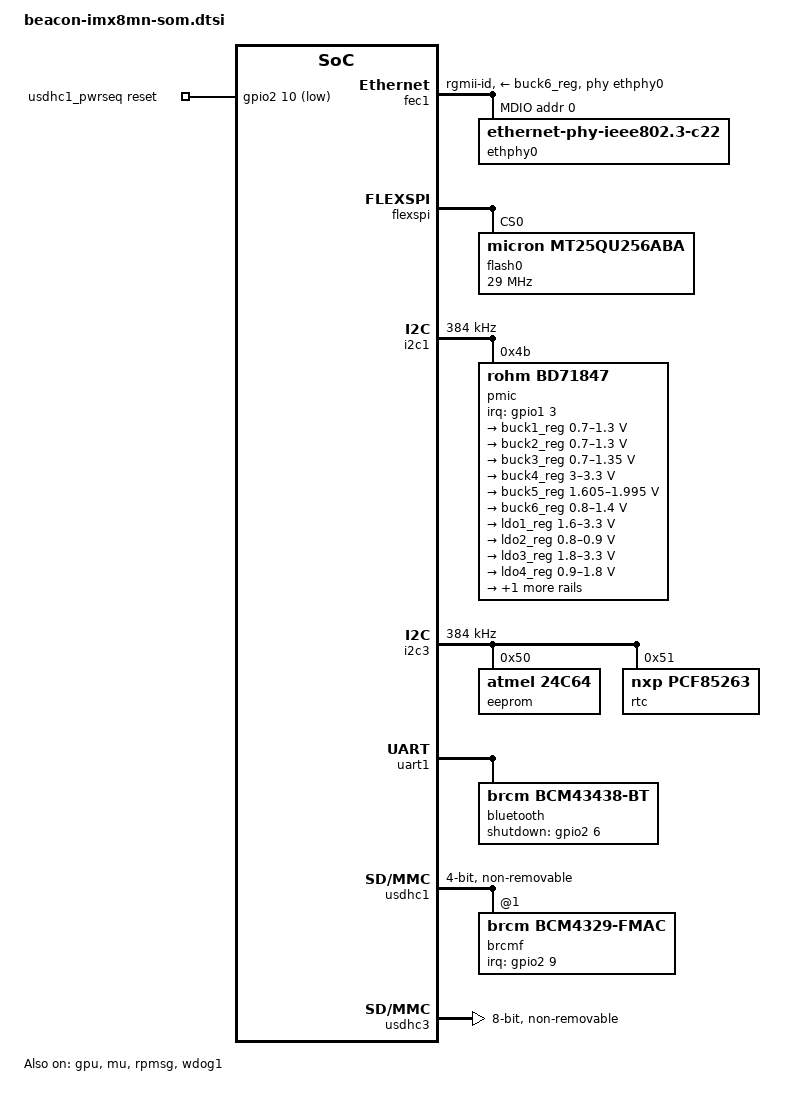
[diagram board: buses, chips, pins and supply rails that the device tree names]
// SPDX-License-Identifier: (GPL-2.0 OR MIT)
/*
 * Copyright 2020 Beacon EmbeddedWorks
 */
/ {
	usdhc1_pwrseq: usdhc1_pwrseq {
		compatible = "mmc-pwrseq-simple";
		pinctrl-names = "default";
		pinctrl-0 = <&pinctrl_usdhc1_gpio>;
		reset-gpios = <&gpio2 10 GPIO_ACTIVE_LOW>;
		clocks = <&osc_32k>;
		clock-names = "ext_clock";
		post-power-on-delay-ms = <80>;
	};
};

&A53_0 {
	arm-supply = <&buck2_reg>;
};

&fec1 {
	pinctrl-names = "default";
	pinctrl-0 = <&pinctrl_fec1>;
	phy-mode = "rgmii-id";
	phy-handle = <&ethphy0>;
	phy-supply = <&buck6_reg>;
	fsl,magic-packet;
	status = "okay";

	mdio {
		#address-cells = <1>;
		#size-cells = <0>;

		ethphy0: ethernet-phy@0 {
			compatible = "ethernet-phy-ieee802.3-c22";
			reg = <0>;
			at803x,led-act-blind-workaround;
			at803x,eee-okay;
			at803x,vddio-1p8v;
		};
	};
};

&flexspi {
	pinctrl-names = "default";
	pinctrl-0 = <&pinctrl_flexspi0>;
	status = "okay";

	flash0: mt25qu256aba@0 {
		reg = <0>;
		#address-cells = <1>;
		#size-cells = <1>;
		compatible = "micron,mt25qu256aba";
		spi-max-frequency = <29000000>;
		spi-nor,ddr-quad-read-dummy = <6>;
	};
};

&i2c1 {
	clock-frequency = <384000>;
	pinctrl-names = "default";
	pinctrl-0 = <&pinctrl_i2c1>;
	status = "okay";

	pmic@4b {
		reg = <0x4b>;
		compatible = "rohm,bd71847";
		pinctrl-names = "default";
		pinctrl-0 = <&pinctrl_pmic>;
		interrupt-parent = <&gpio1>;
		interrupts = <3 IRQ_TYPE_LEVEL_LOW>;
		rohm,reset-snvs-powered;

		regulators {
			buck1_reg: BUCK1 {
				regulator-name = "BUCK1";
				regulator-min-microvolt = <700000>;
				regulator-max-microvolt = <1300000>;
				regulator-boot-on;
				regulator-always-on;
				regulator-ramp-delay = <1250>;
			};

			buck2_reg: BUCK2 {
				regulator-name = "BUCK2";
				regulator-min-microvolt = <700000>;
				regulator-max-microvolt = <1300000>;
				regulator-boot-on;
				regulator-always-on;
				regulator-ramp-delay = <1250>;
				rohm,dvs-run-voltage = <1000000>;
				rohm,dvs-idle-voltage = <900000>;
			};

			buck3_reg: BUCK3 {
				// BUCK5 in datasheet
				regulator-name = "BUCK3";
				regulator-min-microvolt = <700000>;
				regulator-max-microvolt = <1350000>;
				regulator-boot-on;
				regulator-always-on;
			};

			buck4_reg: BUCK4 {
				// BUCK6 in datasheet
				regulator-name = "BUCK4";
				regulator-min-microvolt = <3000000>;
				regulator-max-microvolt = <3300000>;
				regulator-boot-on;
				regulator-always-on;
			};

			buck5_reg: BUCK5 {
				// BUCK7 in datasheet
				regulator-name = "BUCK5";
				regulator-min-microvolt = <1605000>;
				regulator-max-microvolt = <1995000>;
				regulator-boot-on;
				regulator-always-on;
			};

			buck6_reg: BUCK6 {
				// BUCK8 in datasheet
				regulator-name = "BUCK6";
				regulator-min-microvolt = <800000>;
				regulator-max-microvolt = <1400000>;
				regulator-boot-on;
				regulator-always-on;
			};

			ldo1_reg: LDO1 {
				regulator-name = "LDO1";
				regulator-min-microvolt = <1600000>;
				regulator-max-microvolt = <3300000>;
				regulator-boot-on;
				regulator-always-on;
			};

			ldo2_reg: LDO2 {
				regulator-name = "LDO2";
				regulator-min-microvolt = <800000>;
				regulator-max-microvolt = <900000>;
				regulator-boot-on;
				regulator-always-on;
			};

			ldo3_reg: LDO3 {
				regulator-name = "LDO3";
				regulator-min-microvolt = <1800000>;
				regulator-max-microvolt = <3300000>;
				regulator-boot-on;
				regulator-always-on;
			};

			ldo4_reg: LDO4 {
				regulator-name = "LDO4";
				regulator-min-microvolt = <900000>;
				regulator-max-microvolt = <1800000>;
				regulator-boot-on;
				regulator-always-on;
			};

			ldo6_reg: LDO6 {
				regulator-name = "LDO6";
				regulator-min-microvolt = <900000>;
				regulator-max-microvolt = <1800000>;
				regulator-boot-on;
				regulator-always-on;
			};
		};
	};
};

&gpu {
	status = "okay";
};

&i2c3 {
	clock-frequency = <384000>;
	pinctrl-names = "default";
	pinctrl-0 = <&pinctrl_i2c3>;
	status = "okay";

	eeprom@50 {
		compatible = "atmel,24c64";
		pagesize = <32>;
		read-only;	/* Manufacturing EEPROM programmed at factory */
		reg = <0x50>;
	};

	rtc@51 {
		compatible = "nxp,pcf85263";
		reg = <0x51>;
		quartz-load-femtofarads = <12500>;
	};
};

&mu {
	status = "okay";
};

&rpmsg{
	/*
	 * 64K for one rpmsg instance:
	 * --0xb8000000~0xb800ffff: pingpong
	 */
	vdev-nums = <1>;
	reg = <0x0 0xb8000000 0x0 0x10000>;
	status = "okay";
};

&uart1 { /* BT */
	pinctrl-names = "default";
	pinctrl-0 = <&pinctrl_uart1>;
	assigned-clocks = <&clk IMX8MN_CLK_UART1>;
	assigned-clock-parents = <&clk IMX8MN_SYS_PLL1_80M>;
	uart-has-rtscts;
	status = "okay";

	bluetooth {
		compatible = "brcm,bcm43438-bt";
		shutdown-gpios = <&gpio2 6 GPIO_ACTIVE_HIGH>;
		clocks = <&osc_32k>;
		clock-names = "extclk";
		max-speed = <1000000>;
	};
};

&usbmisc1 {
	vbus-wakeup-supply = <&buck6_reg>;
};

&usbphynop1 {
	vcc-supply = <&buck6_reg>;
};

&usdhc1 {
	#address-cells = <1>;
	#size-cells = <0>;
	pinctrl-names = "default";
	pinctrl-0 = <&pinctrl_usdhc1>;
	bus-width = <4>;
	non-removable;
	cap-power-off-card;
	pm-ignore-notify;
	keep-power-in-suspend;
	mmc-pwrseq = <&usdhc1_pwrseq>;
	vqmmc-supply = <&buck5_reg>;
	status = "okay";

	brcmf: bcrmf@1 {
		reg = <1>;
		compatible = "brcm,bcm4329-fmac";
		pinctrl-names = "default";
		pinctrl-0 = <&pinctrl_wlan>;
		interrupt-parent = <&gpio2>;
		interrupts = <9 IRQ_TYPE_LEVEL_HIGH>;
		interrupt-names = "host-wake";
	};
};

&usdhc3 {
	pinctrl-names = "default", "state_100mhz", "state_200mhz";
	pinctrl-0 = <&pinctrl_usdhc3>;
	pinctrl-1 = <&pinctrl_usdhc3_100mhz>;
	pinctrl-2 = <&pinctrl_usdhc3_200mhz>;
	bus-width = <8>;
	non-removable;
	status = "okay";
};

&wdog1 {
	pinctrl-names = "default";
	pinctrl-0 = <&pinctrl_wdog>;
	fsl,ext-reset-output;
	status = "okay";
};

&iomuxc {
	pinctrl_fec1: fec1grp {
		fsl,pins = <
			MX8MN_IOMUXC_ENET_MDC_ENET1_MDC		0x3
			MX8MN_IOMUXC_ENET_MDIO_ENET1_MDIO	0x3
			MX8MN_IOMUXC_ENET_TD3_ENET1_RGMII_TD3	0x1f
			MX8MN_IOMUXC_ENET_TD2_ENET1_RGMII_TD2	0x1f
			MX8MN_IOMUXC_ENET_TD1_ENET1_RGMII_TD1	0x1f
			MX8MN_IOMUXC_ENET_TD0_ENET1_RGMII_TD0	0x1f
			MX8MN_IOMUXC_ENET_RD3_ENET1_RGMII_RD3	0x91
			MX8MN_IOMUXC_ENET_RD2_ENET1_RGMII_RD2	0x91
			MX8MN_IOMUXC_ENET_RD1_ENET1_RGMII_RD1	0x91
			MX8MN_IOMUXC_ENET_RD0_ENET1_RGMII_RD0	0x91
			MX8MN_IOMUXC_ENET_TXC_ENET1_RGMII_TXC	0x1f
			MX8MN_IOMUXC_ENET_RXC_ENET1_RGMII_RXC	0x91
			MX8MN_IOMUXC_ENET_RX_CTL_ENET1_RGMII_RX_CTL	0x91
			MX8MN_IOMUXC_ENET_TX_CTL_ENET1_RGMII_TX_CTL	0x1f
			MX8MN_IOMUXC_SAI2_RXC_GPIO4_IO22	0x19
		>;
	};

	pinctrl_flexspi0: flexspi0grp {
		fsl,pins = <
			MX8MN_IOMUXC_NAND_ALE_QSPI_A_SCLK		0x1c2
			MX8MN_IOMUXC_NAND_CE0_B_QSPI_A_SS0_B		0x82
			MX8MN_IOMUXC_NAND_DATA00_QSPI_A_DATA0		0x82
			MX8MN_IOMUXC_NAND_DATA01_QSPI_A_DATA1		0x82
			MX8MN_IOMUXC_NAND_DATA02_QSPI_A_DATA2		0x82
			MX8MN_IOMUXC_NAND_DATA03_QSPI_A_DATA3		0x82
		>;
	};

	pinctrl_i2c1: i2c1grp {
		fsl,pins = <
			MX8MN_IOMUXC_I2C1_SCL_I2C1_SCL			0x400001c3
			MX8MN_IOMUXC_I2C1_SDA_I2C1_SDA			0x400001c3
		>;
	};

	pinctrl_i2c3: i2c3grp {
		fsl,pins = <
			MX8MN_IOMUXC_I2C3_SCL_I2C3_SCL			0x400001c3
			MX8MN_IOMUXC_I2C3_SDA_I2C3_SDA			0x400001c3
		>;
	};

	pinctrl_pmic: pmicirq {
		fsl,pins = <
			MX8MN_IOMUXC_GPIO1_IO03_GPIO1_IO3		0x141
		>;
	};

	pinctrl_uart1: uart1grp {
		fsl,pins = <
			MX8MN_IOMUXC_UART1_RXD_UART1_DCE_RX	0x140
			MX8MN_IOMUXC_UART1_TXD_UART1_DCE_TX	0x140
			MX8MN_IOMUXC_UART3_RXD_UART1_DCE_CTS_B	0x140
			MX8MN_IOMUXC_UART3_TXD_UART1_DCE_RTS_B	0x140
			MX8MN_IOMUXC_SD1_DATA4_GPIO2_IO6	0x100
			MX8MN_IOMUXC_SD1_DATA5_GPIO2_IO7	0x140
			MX8MN_IOMUXC_SD1_DATA6_GPIO2_IO8	0x140
			MX8MN_IOMUXC_GPIO1_IO00_ANAMIX_REF_CLK_32K	0x141
		>;
	};

	pinctrl_usdhc1_gpio: usdhc1grpgpio {
		fsl,pins = <
			MX8MN_IOMUXC_SD1_RESET_B_GPIO2_IO10	0x41
		>;
	};

	pinctrl_usdhc1: usdhc1grp {
		fsl,pins = <
			MX8MN_IOMUXC_SD1_CLK_USDHC1_CLK		0x190
			MX8MN_IOMUXC_SD1_CMD_USDHC1_CMD		0x1d0
			MX8MN_IOMUXC_SD1_DATA0_USDHC1_DATA0	0x1d0
			MX8MN_IOMUXC_SD1_DATA1_USDHC1_DATA1	0x1d0
			MX8MN_IOMUXC_SD1_DATA2_USDHC1_DATA2	0x1d0
			MX8MN_IOMUXC_SD1_DATA3_USDHC1_DATA3	0x1d0
		>;
	};

	pinctrl_usdhc1_100mhz: usdhc1grp100mhz {
		fsl,pins = <
			MX8MN_IOMUXC_SD1_CLK_USDHC1_CLK		0x194
			MX8MN_IOMUXC_SD1_CMD_USDHC1_CMD		0x1d4
			MX8MN_IOMUXC_SD1_DATA0_USDHC1_DATA0	0x1d4
			MX8MN_IOMUXC_SD1_DATA1_USDHC1_DATA1	0x1d4
			MX8MN_IOMUXC_SD1_DATA2_USDHC1_DATA2	0x1d4
			MX8MN_IOMUXC_SD1_DATA3_USDHC1_DATA3	0x1d4
		>;
	};

	pinctrl_usdhc1_200mhz: usdhc1grp200mhz {
		fsl,pins = <
			MX8MN_IOMUXC_SD1_CLK_USDHC1_CLK		0x196
			MX8MN_IOMUXC_SD1_CMD_USDHC1_CMD		0x1d6
			MX8MN_IOMUXC_SD1_DATA0_USDHC1_DATA0	0x1d6
			MX8MN_IOMUXC_SD1_DATA1_USDHC1_DATA1	0x1d6
			MX8MN_IOMUXC_SD1_DATA2_USDHC1_DATA2	0x1d6
			MX8MN_IOMUXC_SD1_DATA3_USDHC1_DATA3	0x1d6
		>;
	};

	pinctrl_usdhc3: usdhc3grp {
		fsl,pins = <
			MX8MN_IOMUXC_NAND_WE_B_USDHC3_CLK		0x190
			MX8MN_IOMUXC_NAND_WP_B_USDHC3_CMD		0x1d0
			MX8MN_IOMUXC_NAND_DATA04_USDHC3_DATA0		0x1d0
			MX8MN_IOMUXC_NAND_DATA05_USDHC3_DATA1		0x1d0
			MX8MN_IOMUXC_NAND_DATA06_USDHC3_DATA2		0x1d0
			MX8MN_IOMUXC_NAND_DATA07_USDHC3_DATA3		0x1d0
			MX8MN_IOMUXC_NAND_RE_B_USDHC3_DATA4		0x1d0
			MX8MN_IOMUXC_NAND_CE2_B_USDHC3_DATA5		0x1d0
			MX8MN_IOMUXC_NAND_CE3_B_USDHC3_DATA6		0x1d0
			MX8MN_IOMUXC_NAND_CLE_USDHC3_DATA7		0x1d0
			MX8MN_IOMUXC_NAND_CE1_B_USDHC3_STROBE		0x190
		>;
	};

	pinctrl_usdhc3_100mhz: usdhc3grp100mhz {
		fsl,pins = <
			MX8MN_IOMUXC_NAND_WE_B_USDHC3_CLK		0x194
			MX8MN_IOMUXC_NAND_WP_B_USDHC3_CMD		0x1d4
			MX8MN_IOMUXC_NAND_DATA04_USDHC3_DATA0		0x1d4
			MX8MN_IOMUXC_NAND_DATA05_USDHC3_DATA1		0x1d4
			MX8MN_IOMUXC_NAND_DATA06_USDHC3_DATA2		0x1d4
			MX8MN_IOMUXC_NAND_DATA07_USDHC3_DATA3		0x1d4
			MX8MN_IOMUXC_NAND_RE_B_USDHC3_DATA4		0x1d4
			MX8MN_IOMUXC_NAND_CE2_B_USDHC3_DATA5		0x1d4
			MX8MN_IOMUXC_NAND_CE3_B_USDHC3_DATA6		0x1d4
			MX8MN_IOMUXC_NAND_CLE_USDHC3_DATA7		0x1d4
			MX8MN_IOMUXC_NAND_CE1_B_USDHC3_STROBE		0x194
		>;
	};

	pinctrl_usdhc3_200mhz: usdhc3grp200mhz {
		fsl,pins = <
			MX8MN_IOMUXC_NAND_WE_B_USDHC3_CLK		0x196
			MX8MN_IOMUXC_NAND_WP_B_USDHC3_CMD		0x1d6
			MX8MN_IOMUXC_NAND_DATA04_USDHC3_DATA0		0x1d6
			MX8MN_IOMUXC_NAND_DATA05_USDHC3_DATA1		0x1d6
			MX8MN_IOMUXC_NAND_DATA06_USDHC3_DATA2		0x1d6
			MX8MN_IOMUXC_NAND_DATA07_USDHC3_DATA3		0x1d6
			MX8MN_IOMUXC_NAND_RE_B_USDHC3_DATA4		0x1d6
			MX8MN_IOMUXC_NAND_CE2_B_USDHC3_DATA5		0x1d6
			MX8MN_IOMUXC_NAND_CE3_B_USDHC3_DATA6		0x1d6
			MX8MN_IOMUXC_NAND_CLE_USDHC3_DATA7		0x1d6
			MX8MN_IOMUXC_NAND_CE1_B_USDHC3_STROBE		0x196
		>;
	};

	pinctrl_wdog: wdoggrp {
		fsl,pins = <
			MX8MN_IOMUXC_GPIO1_IO02_WDOG1_WDOG_B		0xc6
		>;
	};

	pinctrl_wlan: wlangrp {
		fsl,pins = <
			MX8MN_IOMUXC_SD1_DATA7_GPIO2_IO9		0x111
		>;
	};
};

